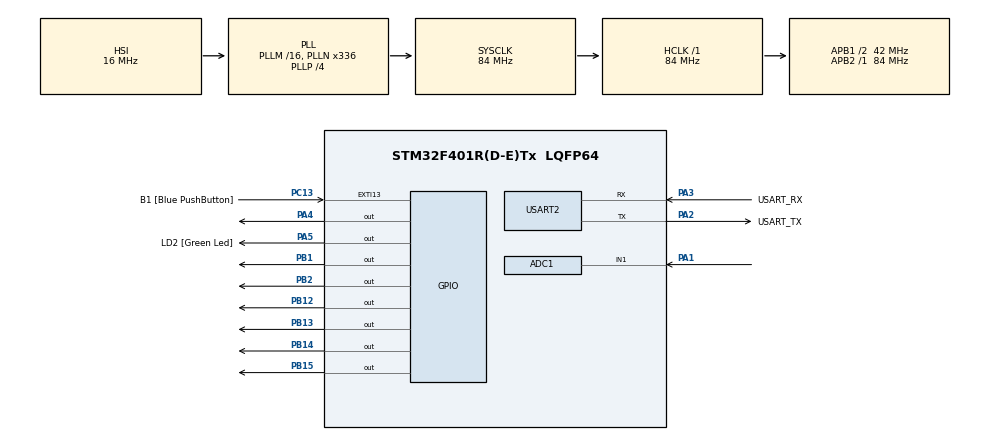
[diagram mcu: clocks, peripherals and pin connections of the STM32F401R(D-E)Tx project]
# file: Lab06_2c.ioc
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ADC1.Channel-0\#ChannelRegularConversion=ADC_CHANNEL_1
ADC1.ExternalTrigConv=ADC_EXTERNALTRIGCONV_T2_TRGO
ADC1.NbrOfConversionFlag=1
ADC1.Rank-0\#ChannelRegularConversion=1
ADC1.SamplingTime-0\#ChannelRegularConversion=ADC_SAMPLETIME_480CYCLES
ADC1.master=1
Mcu.Family=STM32F4
Mcu.Name=STM32F401R(D-E)Tx
Mcu.Package=LQFP64
NVIC.ADC_IRQn=true\:0\:0\:false\:false\:true\:true\:true\:true
NVIC.PriorityGroup=NVIC_PRIORITYGROUP_4
PA1.Signal=ADCx_IN1
PA13.GPIO_Label=TMS
PA13.Mode=Trace_Asynchronous_SW
PA13.Signal=SYS_JTMS-SWDIO
PA14.GPIO_Label=TCK
PA14.Mode=Trace_Asynchronous_SW
PA14.Signal=SYS_JTCK-SWCLK
PA2.GPIO_Label=USART_TX
PA2.GPIO_Mode=GPIO_MODE_AF_PP
PA2.GPIO_PuPd=GPIO_NOPULL
PA2.GPIO_Speed=GPIO_SPEED_FREQ_LOW
PA2.Mode=Asynchronous
PA2.Signal=USART2_TX
PA3.GPIO_Label=USART_RX
PA3.GPIO_Mode=GPIO_MODE_AF_PP
PA3.GPIO_PuPd=GPIO_NOPULL
PA3.GPIO_Speed=GPIO_SPEED_FREQ_LOW
PA3.Mode=Asynchronous
PA3.Signal=USART2_RX
PA4.Signal=GPIO_Output
PA5.GPIO_Label=LD2 [Green Led]
PA5.GPIO_Mode=GPIO_MODE_OUTPUT_PP
PA5.GPIO_PuPd=GPIO_NOPULL
PA5.GPIO_Speed=GPIO_SPEED_FREQ_LOW
PA5.Signal=GPIO_Output
PB1.Signal=GPIO_Output
PB12.Signal=GPIO_Output
PB13.Signal=GPIO_Output
PB14.Signal=GPIO_Output
PB15.Signal=GPIO_Output
PB2.Signal=GPIO_Output
PB3.GPIO_Label=SWO
PB3.Mode=Trace_Asynchronous_SW
PB3.Signal=SYS_JTDO-SWO
PC13-ANTI_TAMP.GPIO_Label=B1 [Blue PushButton]
PC13-ANTI_TAMP.GPIO_ModeDefaultEXTI=GPIO_MODE_IT_FALLING
PC13-ANTI_TAMP.GPIO_PuPd=GPIO_NOPULL
PC13-ANTI_TAMP.Signal=GPXTI13
PC14-OSC32_IN.Mode=LSE-External-Oscillator
PC14-OSC32_IN.Signal=RCC_OSC32_IN
PC15-OSC32_OUT.Mode=LSE-External-Oscillator
PC15-OSC32_OUT.Signal=RCC_OSC32_OUT
PH0\ -\ OSC_IN.Mode=HSE-External-Clock-Source
PH0\ -\ OSC_IN.Signal=RCC_OSC_IN
PH1\ -\ OSC_OUT.Mode=HSE-External-Clock-Source
PH1\ -\ OSC_OUT.Signal=RCC_OSC_OUT
ProjectManager.HeapSize=0x200
ProjectManager.StackSize=0x400
ProjectManager.TargetToolchain=STM32CubeIDE
RCC.48MHZClocksFreq_Value=48000000
RCC.AHBFreq_Value=84000000
RCC.APB1CLKDivider=RCC_HCLK_DIV2
RCC.APB1Freq_Value=42000000
RCC.APB1TimFreq_Value=84000000
RCC.APB2Freq_Value=84000000
RCC.APB2TimFreq_Value=84000000
RCC.CortexFreq_Value=84000000
RCC.HCLKFreq_Value=84000000
RCC.HSE_VALUE=8000000
RCC.HSI_VALUE=16000000
RCC.PLLN=336
RCC.PLLP=RCC_PLLP_DIV4
RCC.PLLQ=7
RCC.SYSCLKFreq_VALUE=84000000
RCC.SYSCLKSource=RCC_SYSCLKSOURCE_PLLCLK
RCC.VCOOutputFreq_Value=336000000
SH.ADCx_IN1.0=ADC1_IN1,IN1
TIM2.Period=839999
TIM2.Prescaler=99
TIM2.TIM_MasterOutputTrigger=TIM_TRGO_UPDATE
USART2.VirtualMode=VM_ASYNC
VP_TIM2_VS_ClockSourceINT.Mode=Internal
board=NUCLEO-F401RE

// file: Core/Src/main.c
/* USER CODE BEGIN Header */
/**
  ******************************************************************************
  * @file           : main.c
  * @brief          : Main program body
  ******************************************************************************
  * @attention
  *
  * Copyright (c) 2026 STMicroelectronics.
  * All rights reserved.
  *
  * This software is licensed under terms that can be found in the LICENSE file
  * in the root directory of this software component.
  * If no LICENSE file comes with this software, it is provided AS-IS.
  *
  ******************************************************************************
  */
/* USER CODE END Header */
#include "main.h"

/* USER CODE BEGIN Includes */
#include "PMDB16_LCD.h"
#include "stdio.h"
#include "string.h"

/* USER CODE END Includes */

ADC_HandleTypeDef hadc1;

TIM_HandleTypeDef htim2;

UART_HandleTypeDef huart2;

/* USER CODE BEGIN PV */
uint32_t adc_value=0;
float voltage=0.0;
char string[16];
int bar_value=0;

/* USER CODE END PV */

void SystemClock_Config(void);
static void MX_GPIO_Init(void);
static void MX_USART2_UART_Init(void);
static void MX_ADC1_Init(void);
static void MX_TIM2_Init(void);

/* USER CODE BEGIN 0 */
void HAL_ADC_ConvCpltCallback(ADC_HandleTypeDef *hadc)
{
    adc_value = HAL_ADC_GetValue(hadc);
    voltage = ((float)adc_value * 3.3f) / 4095.0f;

    sprintf(string, "Value: %.2f V", voltage);

    bar_value = (int)((voltage / 3.3f) * 80.0f);   // 0-80

    lcd_clear();
    lcd_println(string, 0);   // testo sulla riga superiore
    lcd_drawBar(bar_value);   // barra sulla riga inferiore
}

/* USER CODE END 0 */

int main(void)
{

  /* MCU Configuration--------------------------------------------------------*/

  /* Reset of all peripherals, Initializes the Flash interface and the Systick. */
  HAL_Init();

  /* Configure the system clock */
  SystemClock_Config();

  /* Initialize all configured peripherals */
  MX_GPIO_Init();
  MX_USART2_UART_Init();
  MX_ADC1_Init();
  MX_TIM2_Init();
  /* USER CODE BEGIN 2 */
  HAL_TIM_Base_Start(&htim2); // Timer 2 (Trigger ADC)
  HAL_ADC_Start_IT(&hadc1);   // ADC (Interrupt Mode)
  lcd_initialize();           // LCD
  lcd_backlight_ON();

  /* USER CODE END 2 */

  /* Infinite loop */
  while (1)
  {

  }
}

void SystemClock_Config(void)
{
  RCC_OscInitTypeDef RCC_OscInitStruct = {0};
  RCC_ClkInitTypeDef RCC_ClkInitStruct = {0};

  /** Configure the main internal regulator output voltage
  */
  __HAL_RCC_PWR_CLK_ENABLE();
  __HAL_PWR_VOLTAGESCALING_CONFIG(PWR_REGULATOR_VOLTAGE_SCALE2);

  /** Initializes the RCC Oscillators according to the specified parameters
  * in the RCC_OscInitTypeDef structure.
  */
  RCC_OscInitStruct.OscillatorType = RCC_OSCILLATORTYPE_HSI;
  RCC_OscInitStruct.HSIState = RCC_HSI_ON;
  RCC_OscInitStruct.HSICalibrationValue = RCC_HSICALIBRATION_DEFAULT;
  RCC_OscInitStruct.PLL.PLLState = RCC_PLL_ON;
  RCC_OscInitStruct.PLL.PLLSource = RCC_PLLSOURCE_HSI;
  RCC_OscInitStruct.PLL.PLLM = 16;
  RCC_OscInitStruct.PLL.PLLN = 336;
  RCC_OscInitStruct.PLL.PLLP = RCC_PLLP_DIV4;
  RCC_OscInitStruct.PLL.PLLQ = 7;
  if (HAL_RCC_OscConfig(&RCC_OscInitStruct) != HAL_OK)
  {
    Error_Handler();
  }

  /** Initializes the CPU, AHB and APB buses clocks
  */
  RCC_ClkInitStruct.ClockType = RCC_CLOCKTYPE_HCLK|RCC_CLOCKTYPE_SYSCLK
                              |RCC_CLOCKTYPE_PCLK1|RCC_CLOCKTYPE_PCLK2;
  RCC_ClkInitStruct.SYSCLKSource = RCC_SYSCLKSOURCE_PLLCLK;
  RCC_ClkInitStruct.AHBCLKDivider = RCC_SYSCLK_DIV1;
  RCC_ClkInitStruct.APB1CLKDivider = RCC_HCLK_DIV2;
  RCC_ClkInitStruct.APB2CLKDivider = RCC_HCLK_DIV1;

  if (HAL_RCC_ClockConfig(&RCC_ClkInitStruct, FLASH_LATENCY_2) != HAL_OK)
  {
    Error_Handler();
  }
}

static void MX_ADC1_Init(void)
{

  ADC_ChannelConfTypeDef sConfig = {0};

  /** Configure the global features of the ADC (Clock, Resolution, Data Alignment and number of conversion)
  */
  hadc1.Instance = ADC1;
  hadc1.Init.ClockPrescaler = ADC_CLOCK_SYNC_PCLK_DIV4;
  hadc1.Init.Resolution = ADC_RESOLUTION_12B;
  hadc1.Init.ScanConvMode = DISABLE;
  hadc1.Init.ContinuousConvMode = DISABLE;
  hadc1.Init.DiscontinuousConvMode = DISABLE;
  hadc1.Init.ExternalTrigConvEdge = ADC_EXTERNALTRIGCONVEDGE_RISING;
  hadc1.Init.ExternalTrigConv = ADC_EXTERNALTRIGCONV_T2_TRGO;
  hadc1.Init.DataAlign = ADC_DATAALIGN_RIGHT;
  hadc1.Init.NbrOfConversion = 1;
  hadc1.Init.DMAContinuousRequests = DISABLE;
  hadc1.Init.EOCSelection = ADC_EOC_SINGLE_CONV;
  if (HAL_ADC_Init(&hadc1) != HAL_OK)
  {
    Error_Handler();
  }

  /** Configure for the selected ADC regular channel its corresponding rank in the sequencer and its sample time.
  */
  sConfig.Channel = ADC_CHANNEL_1;
  sConfig.Rank = 1;
  sConfig.SamplingTime = ADC_SAMPLETIME_480CYCLES;
  if (HAL_ADC_ConfigChannel(&hadc1, &sConfig) != HAL_OK)
  {
    Error_Handler();
  }

}

static void MX_TIM2_Init(void)
{

  TIM_ClockConfigTypeDef sClockSourceConfig = {0};
  TIM_MasterConfigTypeDef sMasterConfig = {0};

  htim2.Instance = TIM2;
  htim2.Init.Prescaler = 99;
  htim2.Init.CounterMode = TIM_COUNTERMODE_UP;
  htim2.Init.Period = 839999;
  htim2.Init.ClockDivision = TIM_CLOCKDIVISION_DIV1;
  htim2.Init.AutoReloadPreload = TIM_AUTORELOAD_PRELOAD_DISABLE;
  if (HAL_TIM_Base_Init(&htim2) != HAL_OK)
  {
    Error_Handler();
  }
  sClockSourceConfig.ClockSource = TIM_CLOCKSOURCE_INTERNAL;
  if (HAL_TIM_ConfigClockSource(&htim2, &sClockSourceConfig) != HAL_OK)
  {
    Error_Handler();
  }
  sMasterConfig.MasterOutputTrigger = TIM_TRGO_UPDATE;
  sMasterConfig.MasterSlaveMode = TIM_MASTERSLAVEMODE_DISABLE;
  if (HAL_TIMEx_MasterConfigSynchronization(&htim2, &sMasterConfig) != HAL_OK)
  {
    Error_Handler();
  }

}

static void MX_USART2_UART_Init(void)
{

  huart2.Instance = USART2;
  huart2.Init.BaudRate = 115200;
  huart2.Init.WordLength = UART_WORDLENGTH_8B;
  huart2.Init.StopBits = UART_STOPBITS_1;
  huart2.Init.Parity = UART_PARITY_NONE;
  huart2.Init.Mode = UART_MODE_TX_RX;
  huart2.Init.HwFlowCtl = UART_HWCONTROL_NONE;
  huart2.Init.OverSampling = UART_OVERSAMPLING_16;
  if (HAL_UART_Init(&huart2) != HAL_OK)
  {
    Error_Handler();
  }

}

static void MX_GPIO_Init(void)
{
  GPIO_InitTypeDef GPIO_InitStruct = {0};

  /* GPIO Ports Clock Enable */
  __HAL_RCC_GPIOC_CLK_ENABLE();
  __HAL_RCC_GPIOH_CLK_ENABLE();
  __HAL_RCC_GPIOA_CLK_ENABLE();
  __HAL_RCC_GPIOB_CLK_ENABLE();

  /*Configure GPIO pin Output Level */
  HAL_GPIO_WritePin(GPIOA, GPIO_PIN_4|LD2_Pin, GPIO_PIN_RESET);

  /*Configure GPIO pin Output Level */
  HAL_GPIO_WritePin(GPIOB, GPIO_PIN_1|GPIO_PIN_2|GPIO_PIN_12|GPIO_PIN_13
                          |GPIO_PIN_14|GPIO_PIN_15, GPIO_PIN_RESET);

  /*Configure GPIO pin : B1_Pin */
  GPIO_InitStruct.Pin = B1_Pin;
  GPIO_InitStruct.Mode = GPIO_MODE_IT_FALLING;
  GPIO_InitStruct.Pull = GPIO_NOPULL;
  HAL_GPIO_Init(B1_GPIO_Port, &GPIO_InitStruct);

  /*Configure GPIO pins : PA4 LD2_Pin */
  GPIO_InitStruct.Pin = GPIO_PIN_4|LD2_Pin;
  GPIO_InitStruct.Mode = GPIO_MODE_OUTPUT_PP;
  GPIO_InitStruct.Pull = GPIO_NOPULL;
  GPIO_InitStruct.Speed = GPIO_SPEED_FREQ_LOW;
  HAL_GPIO_Init(GPIOA, &GPIO_InitStruct);

  /*Configure GPIO pins : PB1 PB2 PB12 PB13
                           PB14 PB15 */
  GPIO_InitStruct.Pin = GPIO_PIN_1|GPIO_PIN_2|GPIO_PIN_12|GPIO_PIN_13
                          |GPIO_PIN_14|GPIO_PIN_15;
  GPIO_InitStruct.Mode = GPIO_MODE_OUTPUT_PP;
  GPIO_InitStruct.Pull = GPIO_NOPULL;
  GPIO_InitStruct.Speed = GPIO_SPEED_FREQ_LOW;
  HAL_GPIO_Init(GPIOB, &GPIO_InitStruct);

}

void Error_Handler(void)
{
  __disable_irq();
  while (1)
  {
  }
}
